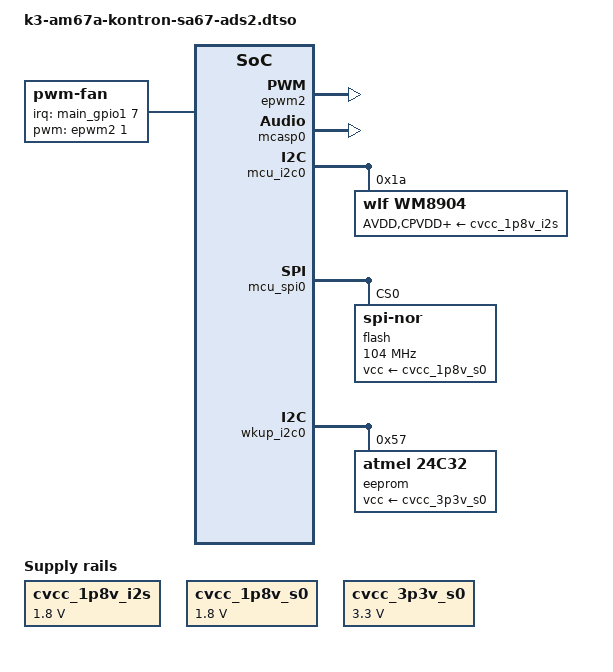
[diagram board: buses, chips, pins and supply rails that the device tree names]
// SPDX-License-Identifier: GPL-2.0-only OR MIT
/*
 * Kontron SMARC-sa67 board on the Kontron Eval Carrier 2.2.
 *
 * Copyright (c) 2025 Kontron Europe GmbH
 */

/dts-v1/;
/plugin/;

#include <dt-bindings/interrupt-controller/irq.h>
#include "k3-pinctrl.h"

&{/} {
	pwm-fan {
		compatible = "pwm-fan";
		pinctrl-names = "default";
		pinctrl-0 = <&pwm_fan_pins_default>;
		interrupts-extended = <&main_gpio1 7 IRQ_TYPE_EDGE_FALLING>;
		#cooling-cells = <2>;
		pwms = <&epwm2 1 4000000 0>;
		cooling-levels = <1 128 192 255>;
	};

	sound {
		compatible = "simple-audio-card";
		simple-audio-card,widgets =
			"Headphone", "Headphone Jack",
			"Line", "Line Out Jack",
			"Microphone", "Microphone Jack",
			"Line", "Line In Jack";
		simple-audio-card,routing =
			"Line Out Jack", "LINEOUTR",
			"Line Out Jack", "LINEOUTL",
			"Headphone Jack", "HPOUTR",
			"Headphone Jack", "HPOUTL",
			"IN1L", "Line In Jack",
			"IN1R", "Line In Jack",
			"Microphone Jack", "MICBIAS",
			"IN2L", "Microphone Jack",
			"IN2R", "Microphone Jack";
		simple-audio-card,mclk-fs = <256>;
		simple-audio-card,format = "i2s";
		simple-audio-card,bitclock-master = <&dailink0_master>;
		simple-audio-card,frame-master = <&dailink0_master>;

		simple-audio-card,cpu {
			sound-dai = <&mcasp0>;
		};

		dailink0_master: simple-audio-card,codec {
			sound-dai = <&wm8904>;
			clocks = <&audio_refclk0>;
		};
	};

	cvcc_1p8v_i2s: regulator-carrier-0 {
		compatible = "regulator-fixed";
		regulator-name = "V_1V8_S0_I2S";
		regulator-min-microvolt = <1800000>;
		regulator-max-microvolt = <1800000>;
	};

	cvcc_1p8v_s0: regulator-carrier-1 {
		compatible = "regulator-fixed";
		regulator-name = "V_1V8_S0";
		regulator-min-microvolt = <1800000>;
		regulator-max-microvolt = <1800000>;
	};

	cvcc_3p3v_s0: regulator-carrier-2 {
		compatible = "regulator-fixed";
		regulator-name = "V_3V3_S0";
		regulator-min-microvolt = <3300000>;
		regulator-max-microvolt = <3300000>;
	};
};

&audio_refclk0 {
	status = "okay";
};

&epwm2 {
	status = "okay";
};

&main_pmx0 {
	pwm_fan_pins_default: pwm-fan-default-pins {
		pinctrl-single,pins = <
			J722S_IOPAD(0x1ec, PIN_OUTPUT, 8)	/* (A22) I2C1_SDA.EHRPWM2_B */
			J722S_IOPAD(0x194, PIN_INPUT, 0)	/* (A25) MCASP0_AXR3.GPIO1_7 */
		>;
	};
};

&mcasp0 {
	#sound-dai-cells = <0>;
	status = "okay";
};

&mcu_i2c0 {
	status = "okay";
	#address-cells = <1>;
	#size-cells = <0>;

	wm8904: audio-codec@1a {
		#sound-dai-cells = <0>;
		compatible = "wlf,wm8904";
		reg = <0x1a>;
		clocks = <&audio_refclk0>;
		clock-names = "mclk";
		AVDD-supply = <&cvcc_1p8v_i2s>;
		CPVDD-supply = <&cvcc_1p8v_i2s>;
		DBVDD-supply = <&cvcc_1p8v_i2s>;
		DCVDD-supply = <&cvcc_1p8v_i2s>;
		MICVDD-supply = <&cvcc_1p8v_i2s>;
	};
};

&mcu_spi0 {
	status = "okay";
	#address-cells = <1>;
	#size-cells = <0>;

	flash@0 {
		compatible = "jedec,spi-nor";
		reg = <0>;
		spi-max-frequency = <104000000>;
		m25p,fast-read;
		vcc-supply = <&cvcc_1p8v_s0>;
	};
};

&wkup_i2c0 {
	status = "okay";
	#address-cells = <1>;
	#size-cells = <0>;

	/* SMARC Carrier EEPROM */
	eeprom@57 {
		compatible = "atmel,24c32";
		reg = <0x57>;
		pagesize = <32>;
		vcc-supply = <&cvcc_3p3v_s0>;
	};
};
